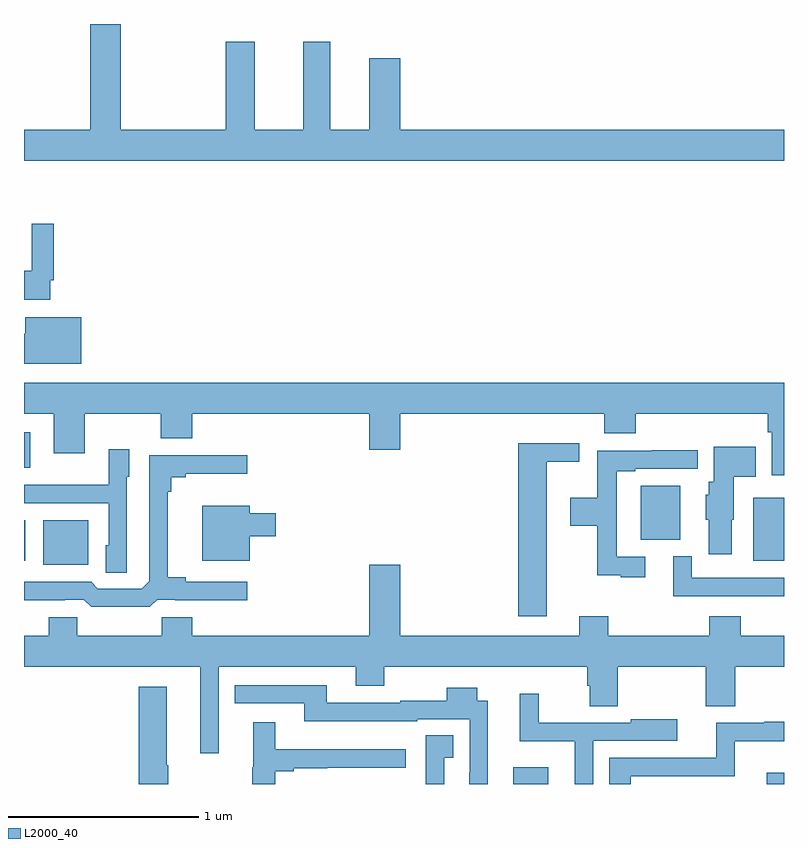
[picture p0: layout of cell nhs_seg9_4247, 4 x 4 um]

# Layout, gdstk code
import gdstk
lib = gdstk.Library(unit=1e-6, precision=1e-09)
def R(c, l, rs):  # rectangles x0, y0, x1, y1
    for r in rs: c.add(gdstk.rectangle(r[:2], r[2:], *l))
def P(c, l, *ps):  # polygons
    for p in ps: c.add(gdstk.Polygon(p, *l))
L2000_40 = (2000, 40)

nhs_seg9_4247 = lib.new_cell('nhs_seg9_4247')
R(nhs_seg9_4247, L2000_40, [(357.576,1166.5,357.76,1166.587), (358.908,1166.5,359,1166.56), (355.1,1167.653,355.339,1167.889), (355,1167.674,355.006,1167.889), (358.838,1167.674,359,1168.006), (358.247,1167.785,358.453,1168.069), (355,1168.164,355.033,1168.351), (356.261,1170.498,356.425,1170.5)])
P(nhs_seg9_4247, L2000_40, [(359,1169.944),(356.98,1169.944),(356.98,1170.319),(356.816,1170.319),(356.816,1169.944),(356.611,1169.944),(356.611,1170.406),(356.471,1170.406),(356.471,1169.944),(356.215,1169.944),(356.215,1170.406),(356.063,1170.406),(356.063,1169.944),(355.508,1169.944),(355.508,1170.5),(355.348,1170.5),(355.348,1169.944),(355,1169.944),(355,1169.78),(359,1169.78)],
  [(355.137,1169.152),(355.157,1169.152),(355.157,1169.449),(355.04,1169.449),(355.04,1169.201),(355,1169.201),(355,1169.048),(355.137,1169.048)],
  [(355.3,1168.957),(355.007,1168.957),(355.007,1168.87),(355,1168.87),(355,1168.712),(355.3,1168.712)],
  [(359,1168.612),(355,1168.612),(355,1168.448),(355.157,1168.448),(355.157,1168.242),(355.321,1168.242),(355.321,1168.448),(355.721,1168.448),(355.721,1168.32),(355.885,1168.32),(355.885,1168.448),(356.816,1168.448),(356.816,1168.26),(356.98,1168.26),(356.98,1168.448),(358.055,1168.448),(358.055,1168.346),(358.22,1168.346),(358.22,1168.448),(358.915,1168.448),(358.915,1168.352),(358.935,1168.352),(358.935,1168.125),(359,1168.125)],
  [(357.751,1168.196),(357.922,1168.196),(357.922,1168.294),(357.602,1168.294),(357.602,1167.384),(357.751,1167.384)],
  [(358.726,1167.891),(358.735,1167.891),(358.735,1168.118),(358.85,1168.118),(358.85,1168.276),(358.631,1168.276),(358.631,1168.092),(358.604,1168.092),(358.604,1168.023),(358.589,1168.023),(358.589,1167.891),(358.604,1167.891),(358.604,1167.708),(358.726,1167.708)],
  [(355.542,1168.116),(355.555,1168.116),(355.555,1168.261),(355.446,1168.261),(355.446,1168.075),(355.129,1168.075),(355.129,1168.074),(355,1168.074),(355,1167.978),(355.446,1167.978),(355.446,1167.756),(355.43,1167.756),(355.43,1167.613),(355.542,1167.613)],
  [(358.27,1167.696),(358.119,1167.696),(358.119,1168.146),(358.216,1168.146),(358.216,1168.158),(358.546,1168.158),(358.546,1168.256),(358.303,1168.256),(358.303,1168.254),(358.018,1168.254),(358.018,1168.006),(357.876,1168.006),(357.876,1167.859),(358.018,1167.859),(358.018,1167.599),(358.142,1167.599),(358.142,1167.588),(358.27,1167.588)],
  [(355.701,1167.471),(355.795,1167.471),(355.795,1167.467),(356.176,1167.467),(356.176,1167.564),(355.852,1167.564),(355.852,1167.587),(355.757,1167.587),(355.757,1168.037),(355.775,1168.037),(355.775,1168.114),(355.852,1168.114),(355.852,1168.133),(356.176,1168.133),(356.176,1168.23),(355.659,1168.23),(355.659,1167.567),(355.62,1167.528),(355.389,1167.528),(355.353,1167.564),(355,1167.564),(355,1167.467),(355.214,1167.467),(355.214,1167.471),(355.314,1167.471),(355.354,1167.432),(355.661,1167.432)],
  [(356.188,1167.803),(356.326,1167.803),(356.326,1167.925),(356.188,1167.925),(356.188,1167.964),(355.937,1167.964),(355.937,1167.674),(356.188,1167.674)],
  [(359,1167.585),(358.515,1167.585),(358.515,1167.7),(358.418,1167.7),(358.418,1167.489),(359,1167.489)],
  [(358.076,1167.382),(357.923,1167.382),(357.923,1167.28),(356.98,1167.28),(356.98,1167.655),(356.816,1167.655),(356.816,1167.28),(355.886,1167.28),(355.886,1167.378),(355.726,1167.378),(355.726,1167.28),(355.281,1167.28),(355.281,1167.378),(355.13,1167.378),(355.13,1167.28),(355,1167.28),(355,1167.116),(355.928,1167.116),(355.928,1166.661),(356.025,1166.661),(356.025,1167.116),(356.747,1167.116),(356.747,1167.017),(356.895,1167.017),(356.895,1167.116),(357.965,1167.116),(357.965,1167.018),(357.977,1167.018),(357.977,1166.908),(358.125,1166.908),(358.125,1167.116),(358.588,1167.116),(358.588,1166.908),(358.743,1166.908),(358.743,1167.116),(359,1167.116),(359,1167.28),(358.772,1167.28),(358.772,1167.382),(358.607,1167.382),(358.607,1167.28),(358.076,1167.28)],
  [(357.442,1166.937),(357.385,1166.937),(357.385,1167.007),(357.226,1167.007),(357.226,1166.938),(356.979,1166.938),(356.979,1166.928),(356.593,1166.928),(356.593,1167.021),(356.11,1167.021),(356.11,1166.925),(356.474,1166.925),(356.474,1166.831),(357.069,1166.831),(357.069,1166.841),(357.345,1166.841),(357.345,1166.558),(357.344,1166.558),(357.344,1166.5),(357.442,1166.5)],
  [(355.758,1166.6),(355.75,1166.6),(355.75,1167.013),(355.604,1167.013),(355.604,1166.5),(355.758,1166.5)],
  [(357.996,1166.727),(358.438,1166.727),(358.438,1166.842),(358.193,1166.842),(358.193,1166.823),(357.71,1166.823),(357.71,1166.974),(357.608,1166.974),(357.608,1166.726),(357.899,1166.726),(357.899,1166.5),(357.996,1166.5)],
  [(358.194,1166.541),(358.741,1166.541),(358.741,1166.726),(359,1166.726),(359,1166.828),(358.896,1166.828),(358.896,1166.823),(358.643,1166.823),(358.643,1166.637),(358.081,1166.637),(358.081,1166.5),(358.194,1166.5)],
  [(356.323,1166.566),(356.419,1166.566),(356.419,1166.584),(356.597,1166.584),(356.597,1166.586),(357.01,1166.586),(357.01,1166.683),(356.323,1166.683),(356.323,1166.824),(356.207,1166.824),(356.207,1166.589),(356.2,1166.589),(356.2,1166.5),(356.323,1166.5)],
  [(357.211,1166.638),(357.26,1166.638),(357.26,1166.756),(357.114,1166.756),(357.114,1166.5),(357.211,1166.5)])

lib.write_gds('nhs_seg9_4247.gds')
